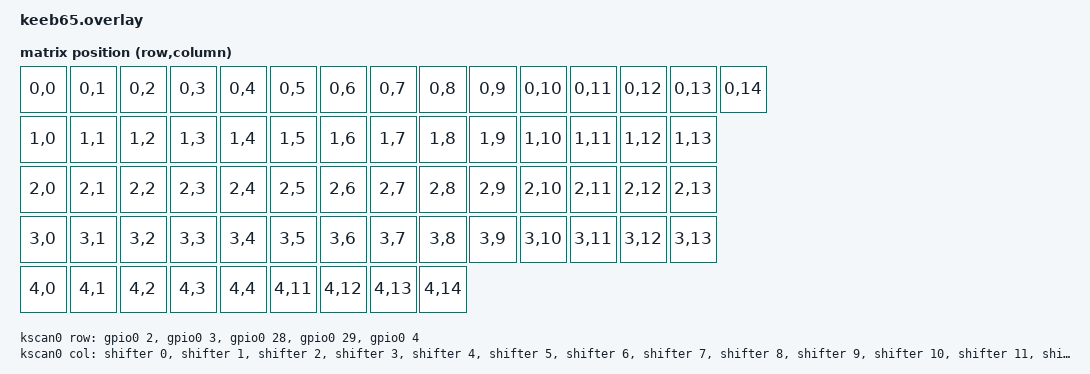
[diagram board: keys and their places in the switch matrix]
#include <dt-bindings/zmk/matrix_transform.h>
#include <dt-bindings/zmk/hid_indicators.h>
#include <dt-bindings/gpio/gpio.h>
#include <dt-bindings/pinctrl/nrf-pinctrl.h>

/ {
    chosen {
        zmk,kscan = &kscan0;
        zmk,matrix-transform = &default_transform;
    };

    /* 実配線ベース  R0=15 R1=14 R2=14 R3=14 R4=9  合計66 */
    default_transform: keymap_transform_0 {
        compatible = "zmk,matrix-transform";
        columns = <15>;
        rows = <5>;
        map = <
            // R0: Esc 1 2 3 4 5 6 7 8 9 0 - ^ \ Del
            RC(0,0) RC(0,1) RC(0,2) RC(0,3) RC(0,4) RC(0,5) RC(0,6) RC(0,7) RC(0,8) RC(0,9) RC(0,10) RC(0,11) RC(0,12) RC(0,13) RC(0,14)
            // R1: Tab Q W E R T Y U I O P @ [ Back
            RC(1,0) RC(1,1) RC(1,2) RC(1,3) RC(1,4) RC(1,5) RC(1,6) RC(1,7) RC(1,8) RC(1,9) RC(1,10) RC(1,11) RC(1,12) RC(1,13)
            // R2: Caps A S D F G H J K L ; : ] Enter
            RC(2,0) RC(2,1) RC(2,2) RC(2,3) RC(2,4) RC(2,5) RC(2,6) RC(2,7) RC(2,8) RC(2,9) RC(2,10) RC(2,11) RC(2,12) RC(2,13)
            // R3: LShift Z X C V B N M , . / _ Up RShift
            RC(3,0) RC(3,1) RC(3,2) RC(3,3) RC(3,4) RC(3,5) RC(3,6) RC(3,7) RC(3,8) RC(3,9) RC(3,10) RC(3,11) RC(3,12) RC(3,13)
            // R4: LCtrl Fn Win LAlt Space RCtrl Left Down Right
            RC(4,0) RC(4,1) RC(4,2) RC(4,3) RC(4,4) RC(4,11) RC(4,12) RC(4,13) RC(4,14)
        >;
    };

    kscan0: kscan {
        compatible = "zmk,kscan-gpio-matrix";
        wakeup-source;
        diode-direction = "col2row";

        row-gpios
            = <&gpio0 2  (GPIO_ACTIVE_HIGH | GPIO_PULL_DOWN)>   // Row0 = D0 / P0.02
            , <&gpio0 3  (GPIO_ACTIVE_HIGH | GPIO_PULL_DOWN)>   // Row1 = D1 / P0.03
            , <&gpio0 28 (GPIO_ACTIVE_HIGH | GPIO_PULL_DOWN)>   // Row2 = D2 / P0.28
            , <&gpio0 29 (GPIO_ACTIVE_HIGH | GPIO_PULL_DOWN)>   // Row3 = D3 / P0.29
            , <&gpio0 4  (GPIO_ACTIVE_HIGH | GPIO_PULL_DOWN)>   // Row4 = D4 / P0.04
            ;

        col-gpios
            = <&shifter 0  GPIO_ACTIVE_HIGH>   // Col0  = U2 QA
            , <&shifter 1  GPIO_ACTIVE_HIGH>   // Col1  = U2 QB
            , <&shifter 2  GPIO_ACTIVE_HIGH>   // Col2  = U2 QC
            , <&shifter 3  GPIO_ACTIVE_HIGH>   // Col3  = U2 QD
            , <&shifter 4  GPIO_ACTIVE_HIGH>   // Col4  = U2 QE
            , <&shifter 5  GPIO_ACTIVE_HIGH>   // Col5  = U2 QF
            , <&shifter 6  GPIO_ACTIVE_HIGH>   // Col6  = U2 QG
            , <&shifter 7  GPIO_ACTIVE_HIGH>   // Col7  = U2 QH
            , <&shifter 8  GPIO_ACTIVE_HIGH>   // Col8  = U3 QA
            , <&shifter 9  GPIO_ACTIVE_HIGH>   // Col9  = U3 QB
            , <&shifter 10 GPIO_ACTIVE_HIGH>   // Col10 = U3 QC
            , <&shifter 11 GPIO_ACTIVE_HIGH>   // Col11 = U3 QD
            , <&shifter 12 GPIO_ACTIVE_HIGH>   // Col12 = U3 QE
            , <&shifter 13 GPIO_ACTIVE_HIGH>   // Col13 = U3 QF
            , <&shifter 14 GPIO_ACTIVE_HIGH>   // Col14 = U3 QG
            ;
    };

    /* 基板上のLED (点かない時は GPIO_ACTIVE_LOW を試す) */
    keeb_leds {
        compatible = "gpio-leds";
        ble_led: ble_led {
            gpios = <&gpio1 12 GPIO_ACTIVE_HIGH>;       // 青 = D7 / P1.12
        };
        caps_lock_led: caps_lock_led {
            gpios = <&gpio1 13 GPIO_ACTIVE_HIGH>;       // 緑 = D8 / P1.13
        };
    };

    indicators {
        compatible = "zmk,indicator-leds";
        caps_lock_indicator: caps_lock {
            indicator = <HID_INDICATOR_CAPS_LOCK>;
            leds = <&caps_lock_led>;
        };
    };
};

/* --- 74HC595 x2 を SPI1 で駆動 --- */
&pinctrl {
    spi1_default: spi1_default {
        group1 {
            psels = <NRF_PSEL(SPIM_MOSI, 0, 5)>,     // SR_DATA = D5 / P0.05
                    <NRF_PSEL(SPIM_SCK,  1, 11)>;    // SR_CLK  = D6 / P1.11
        };
    };
    spi1_sleep: spi1_sleep {
        group1 {
            psels = <NRF_PSEL(SPIM_MOSI, 0, 5)>,
                    <NRF_PSEL(SPIM_SCK,  1, 11)>;
            low-power-enable;
        };
    };
};

&spi1 {
    compatible = "nordic,nrf-spim";
    status = "okay";
    pinctrl-0 = <&spi1_default>;
    pinctrl-1 = <&spi1_sleep>;
    pinctrl-names = "default", "sleep";
    cs-gpios = <&gpio1 15 GPIO_ACTIVE_LOW>;        // SR_LATCH = D10 / P1.15

    shifter: 595@0 {
        compatible = "zmk,gpio-595";
        status = "okay";
        gpio-controller;
        reg = <0>;
        spi-max-frequency = <200000>;
        #gpio-cells = <2>;
        ngpios = <16>;
    };
};

/* XIAO標準SPI(spi2)は D8=P1.13(緑LED) と D10=P1.15(LATCH) を掴むので無効化 */
&spi2 {
    status = "disabled";
};

/* Sense版IMU用 i2c0 は不要なので無効化(保険) */
&i2c0 {
    status = "disabled";
};
